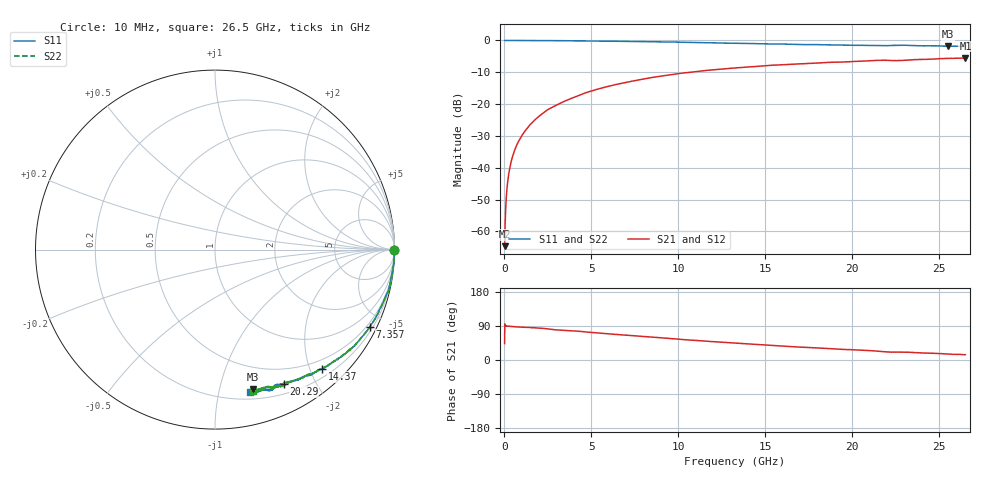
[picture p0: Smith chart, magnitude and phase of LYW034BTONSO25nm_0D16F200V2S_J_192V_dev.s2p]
!Keysight Technologies,N5222B,MY61253708,A.15.00.15
!Date: Wednesday, June 19, 2024 10:38:09
!Correction: S11(C  2-Port  )
!S21(C  2-Port  )
!S12(C  2-Port  )
!S22(C  2-Port  )
!S2P File: Measurements: S11, S21, S12, S22:
# Hz S  RI  R 50
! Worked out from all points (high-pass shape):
!   2651 points, 10 MHz to 26.5 GHz, reference 50 ohm
!   highest |S21| = -5.46 dB at 26.5 GHz (marker M1); lowest = -64.6 dB at 10 MHz (marker M2)
!   |S21| within 3 dB of the highest: 13.63969 GHz to 13.66018 GHz (20.49 MHz wide, 0.15 % of centre); 13.69 GHz to end of sweep
!   lowest |S11| = -1.9 dB at 25.5 GHz (marker M3), VSWR 9.34, Z = 14.3 - j63.6 ohm
!   |S11| at or under -10 dB: nowhere
!   |S22| runs from -1.8 to 0.0 dB; largest |S21 - S12| = 0.0069
!   S11 on the Smith chart (normalised r, x): 10 MHz: open; 7.357 GHz: 0.35, -4.23; 14.37 GHz: 0.34, -2.20; 20.29 GHz: 0.31, -1.59; 26.5 GHz: 0.26, -1.24
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1e7  0.9986 -0.00311  0.000429 0.000402  0.000154 0.000236  0.9983 -0.00192
7.997358e7  0.9999 -0.00567  5.25e-05 0.00256  1.15e-05 0.0026  0.9994 -0.00513
1.599434e8  0.9999 -0.0112  7.14e-05 0.00516  4.77e-05 0.00518  0.9998 -0.0103
1.999283e8  1 -0.0133  8.27e-05 0.00644  0.000101 0.00645  0.9998 -0.0125
2.599057e8  0.9997 -0.0174  0.000158 0.00839  0.000163 0.0084  0.9997 -0.0163
3.598679e8  0.9996 -0.0242  0.000308 0.0116  0.000269 0.0116  0.9997 -0.0233
4.898189e8  0.9986 -0.0325  0.000515 0.0158  0.000522 0.0158  0.9984 -0.0311
6.497585e8  0.9985 -0.0423  0.000854 0.0209  0.00085 0.0209  0.9986 -0.0406
8.396868e8  0.998 -0.0547  0.00141 0.0269  0.00141 0.027  0.998 -0.0538
1.459453e9  0.9911 -0.0963  0.00339 0.0471  0.00342 0.0471  0.9936 -0.0916
2.329125e9  0.9825 -0.1489  0.0094 0.0759  0.00953 0.076  0.9839 -0.1485
3.208792e9  0.9724 -0.2037  0.02 0.1015  0.0201 0.1017  0.9732 -0.2017
4.428332e9  0.9451 -0.2757  0.0365 0.1383  0.0367 0.1387  0.9473 -0.2717
7.357226e9  0.863 -0.4295  0.0997 0.207  0.1007 0.2071  0.8653 -0.4261
8.846664e9  0.8107 -0.4964  0.1394 0.233  0.1404 0.2332  0.8134 -0.4928
1.3255e10  0.6386 -0.6387  0.2638 0.2596  0.2655 0.259  0.6447 -0.6352
1.437458e10  0.597 -0.6642  0.2929 0.2566  0.294 0.2562  0.6028 -0.658
1.767333e10  0.4685 -0.7217  0.3695 0.2348  0.3723 0.2331  0.4821 -0.7171
2.029234e10  0.3836 -0.7474  0.4203 0.2089  0.4228 0.2066  0.4021 -0.7472
2.209166e10  0.3335 -0.7579  0.4532 0.1754  0.4545 0.1727  0.331 -0.7629
2.550038e10  0.2135 -0.7779  0.5036 0.14  0.5046 0.1399  0.2378 -0.7798
2.65e10  0.1941 -0.7929  0.5173 0.1293  0.5162 0.1255  0.2113 -0.7905
